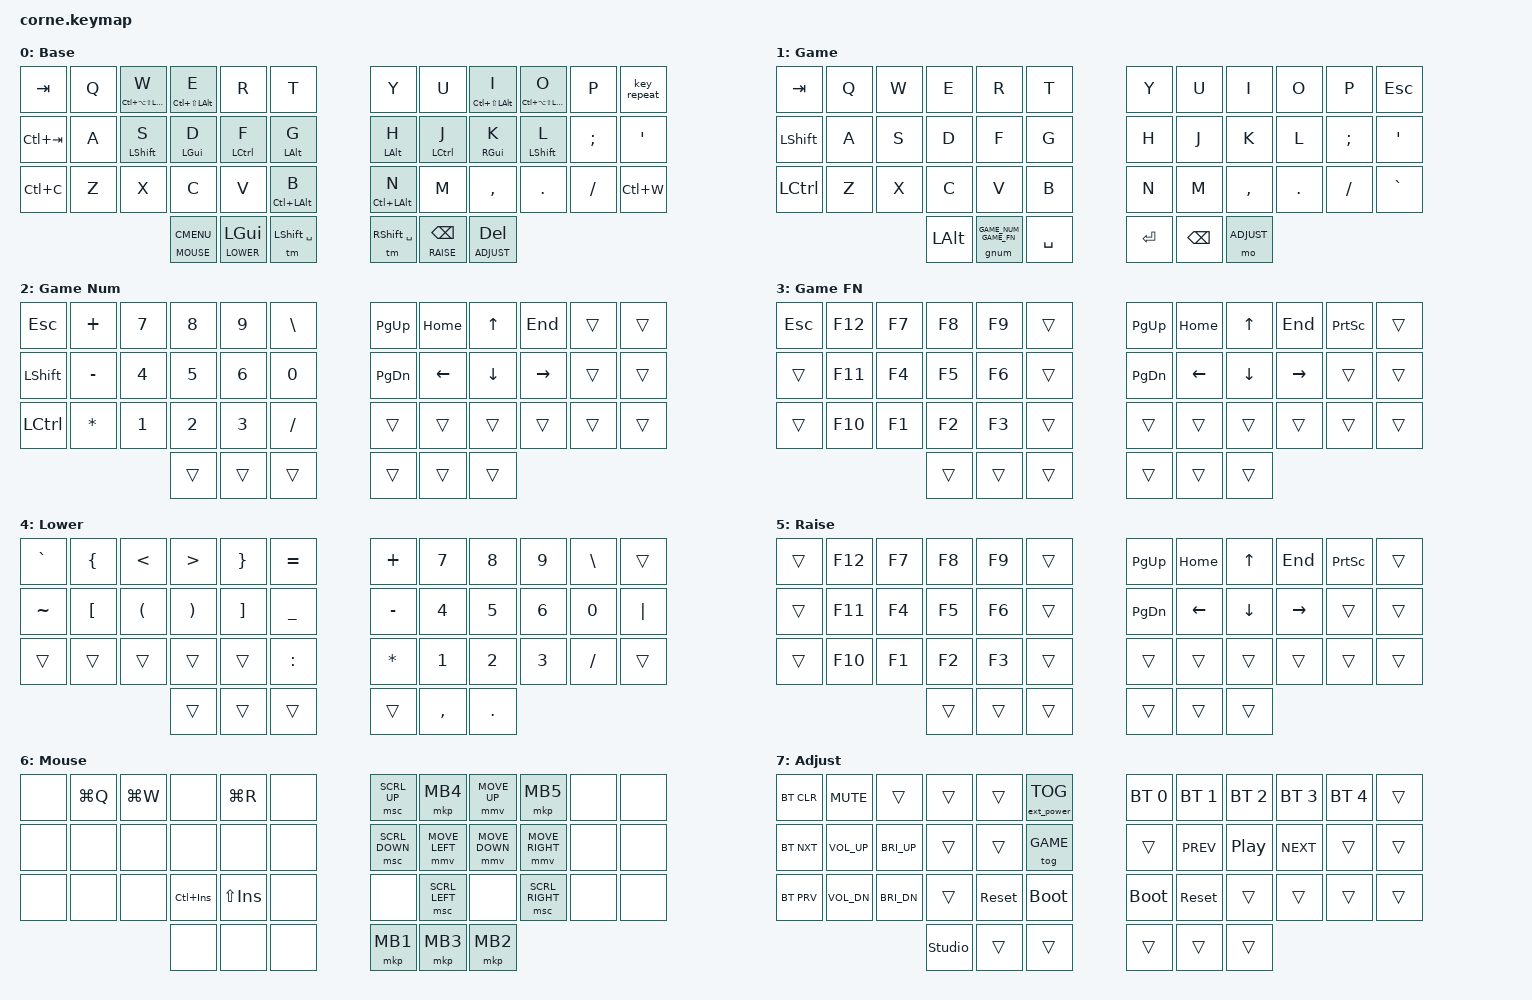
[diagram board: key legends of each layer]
/*
 * Copyright (c) 2020 The ZMK Contributors
 *
 * SPDX-License-Identifier: MIT
 */

#include <behaviors.dtsi>
#include <dt-bindings/zmk/bt.h>
#include <dt-bindings/zmk/ext_power.h>
#include <dt-bindings/zmk/keys.h>
#include <dt-bindings/zmk/pointing.h>

#include "keys/base.h"
#include "keys/42.h"

#define BASE     0
#define GAME     1
#define GAME_NUM 2
#define GAME_FN  3
#define LOWER    4
#define RAISE    5
#define MOUSE    6
#define ADJUST   7

#define HYPER LC(LA(LS(LGUI)))
#define MEH LC(LS(LALT))
#define COPY LC(INS)
#define PASTE LS(INS)

/ {
    keymap {
        compatible = "zmk,keymap";

        default_layer {
            display-name = "Base";
            bindings = <
//    ┌────┬───┬──────────────┬─────────────┬────────────┬───────────┐       ┌───────────┬────────────┬─────────────┬──────────────┬───┬────┐
//    │ ⇥  │ Q │ &hml HYPER W │ &hml MEH E  │     R      │     T     │       │     Y     │     U      │ &hmr MEH I  │ &hmr HYPER O │ P │ ⟳  │
//    ├────┼───┼──────────────┼─────────────┼────────────┼───────────┤       ├───────────┼────────────┼─────────────┼──────────────┼───┼────┤
//    │ ⌃⇥ │ A │   &hml ⇧ S   │  &hml ⌘ D   │  &hml ⌃ F  │ &hml ⌥ G  │       │ &hmr ⌥ H  │  &hmr ⌃ J  │  &hmr ⌘ K   │   &hmr ⇧ L   │ ; │ '  │
//    ├────┼───┼──────────────┼─────────────┼────────────┼───────────┤       ├───────────┼────────────┼─────────────┼──────────────┼───┼────┤
//    │ ⌃C │ Z │      X       │      C      │     V      │ &hml ⌃⌥ B │       │ &hmr ⌃⌥ N │     M      │      ,      │      .       │ / │ ⌃W │
//    └────┴───┴──────────────┼─────────────┼────────────┼───────────┤       ├───────────┼────────────┼─────────────┼──────────────┴───┴────┘
//                            │ LT MOUSE 🌍 │ LT LOWER ⌘ │  &tm ⇧ ␣  │       │  &tm ⇧ ␣  │ LT RAISE ⌫ │ LT ADJUST ⌦ │
//                            └─────────────┴────────────┴───────────┘       └───────────┴────────────┴─────────────┘
  &kp TAB       &kp Q   &hml HYPER W    &hml MEH E          &kp R            &kp T                      &kp Y              &kp U            &hmr MEH I       &hmr HYPER O    &kp P      &key_repeat
  &kp LC(TAB)   &kp A   &hml LSHIFT S   &hml LGUI D         &hml LCTRL F     &hml LALT G                &hmr LALT H        &hmr LCTRL J     &hmr RGUI K      &hmr LSHIFT L   &kp SEMI   &kp SQT
  &kp LC(C)     &kp Z   &kp X           &kp C               &kp V            &hml LC(LALT) B            &hmr LC(LALT) N    &kp M            &kp COMMA        &kp DOT         &kp FSLH   &kp LC(W)
                                        &lt MOUSE K_CMENU   &lt LOWER LGUI   &tm LSHIFT SPACE           &tm RSHIFT SPACE   &lt RAISE BSPC   &lt ADJUST DEL
            >;
        };

        game_layer {
            display-name = "Game";
            bindings = <
//    ┌───┬───┬───┬───┬────────────────────────┬───┐       ┌───┬───┬───────────┬───┬───┬───┐
//    │ ⇥ │ Q │ W │ E │           R            │ T │       │ Y │ U │     I     │ O │ P │ ⎋ │
//    ├───┼───┼───┼───┼────────────────────────┼───┤       ├───┼───┼───────────┼───┼───┼───┤
//    │ ⇧ │ A │ S │ D │           F            │ G │       │ H │ J │     K     │ L │ ; │ ' │
//    ├───┼───┼───┼───┼────────────────────────┼───┤       ├───┼───┼───────────┼───┼───┼───┤
//    │ ⌃ │ Z │ X │ C │           V            │ B │       │ N │ M │     ,     │ . │ / │ ` │
//    └───┴───┴───┼───┼────────────────────────┼───┤       ├───┼───┼───────────┼───┴───┴───┘
//                │ ⌥ │ &gnum GAME_NUM GAME_FN │ ␣ │       │ ⏎ │ ⌫ │ MO ADJUST │
//                └───┴────────────────────────┴───┘       └───┴───┴───────────┘
  &kp TAB      &kp Q   &kp W   &kp E      &kp R                    &kp T               &kp Y     &kp U      &kp I        &kp O     &kp P      &kp ESC
  &kp LSHIFT   &kp A   &kp S   &kp D      &kp F                    &kp G               &kp H     &kp J      &kp K        &kp L     &kp SEMI   &kp SQT
  &kp LCTRL    &kp Z   &kp X   &kp C      &kp V                    &kp B               &kp N     &kp M      &kp COMMA    &kp DOT   &kp FSLH   &kp GRAVE
                               &kp LALT   &gnum GAME_NUM GAME_FN   &kp SPACE           &kp RET   &kp BSPC   &mo ADJUST
            >;
        };

        game_num_layer {
            display-name = "Game Num";
            bindings = <
//    ┌───┬───┬───┬───┬───┬───┐       ┌───┬───┬───┬───┬───┬───┐
//    │ ⎋ │ + │ 7 │ 8 │ 9 │ \ │       │ ⇞ │ ⇱ │ ↑ │ ⇲ │   │   │
//    ├───┼───┼───┼───┼───┼───┤       ├───┼───┼───┼───┼───┼───┤
//    │ ⇧ │ - │ 4 │ 5 │ 6 │ 0 │       │ ⇟ │ ← │ ↓ │ → │   │   │
//    ├───┼───┼───┼───┼───┼───┤       ├───┼───┼───┼───┼───┼───┤
//    │ ⌃ │ * │ 1 │ 2 │ 3 │ / │       │   │   │   │   │   │   │
//    └───┴───┴───┼───┼───┼───┤       ├───┼───┼───┼───┴───┴───┘
//                │   │   │   │       │   │   │   │
//                └───┴───┴───┘       └───┴───┴───┘
  &kp ESC      &kp PLUS    &kp N7   &kp N8   &kp N9   &kp BSLH           &kp PG_UP   &kp HOME   &kp UP     &kp END     &trans   &trans
  &kp LSHIFT   &kp MINUS   &kp N4   &kp N5   &kp N6   &kp N0             &kp PG_DN   &kp LEFT   &kp DOWN   &kp RIGHT   &trans   &trans
  &kp LCTRL    &kp ASTRK   &kp N1   &kp N2   &kp N3   &kp FSLH           &trans      &trans     &trans     &trans      &trans   &trans
                                    &trans   &trans   &trans             &trans      &trans     &trans
            >;
        };

        game_fn_layer {
            display-name = "Game FN";
            bindings = <
//    ┌───┬─────┬────┬────┬────┬───┐       ┌───┬───┬───┬───┬────┬───┐
//    │ ⎋ │ F12 │ F7 │ F8 │ F9 │   │       │ ⇞ │ ⇱ │ ↑ │ ⇲ │ 🖨️ │   │
//    ├───┼─────┼────┼────┼────┼───┤       ├───┼───┼───┼───┼────┼───┤
//    │   │ F11 │ F4 │ F5 │ F6 │   │       │ ⇟ │ ← │ ↓ │ → │    │   │
//    ├───┼─────┼────┼────┼────┼───┤       ├───┼───┼───┼───┼────┼───┤
//    │   │ F10 │ F1 │ F2 │ F3 │   │       │   │   │   │   │    │   │
//    └───┴─────┴────┼────┼────┼───┤       ├───┼───┼───┼───┴────┴───┘
//                   │    │    │   │       │   │   │   │
//                   └────┴────┴───┘       └───┴───┴───┘
  &kp ESC   &kp F12   &kp F7   &kp F8   &kp F9   &trans           &kp PG_UP   &kp HOME   &kp UP     &kp END     &kp PRINTSCREEN   &trans
  &trans    &kp F11   &kp F4   &kp F5   &kp F6   &trans           &kp PG_DN   &kp LEFT   &kp DOWN   &kp RIGHT   &trans            &trans
  &trans    &kp F10   &kp F1   &kp F2   &kp F3   &trans           &trans      &trans     &trans     &trans      &trans            &trans
                               &trans   &trans   &trans           &trans      &trans     &trans
            >;
        };

        lower_layer {
            display-name = "Lower";
            bindings = <
//    ┌───┬───┬───┬───┬───┬───┐       ┌───┬───┬───┬───┬───┬───┐
//    │ ` │ { │ < │ > │ } │ = │       │ + │ 7 │ 8 │ 9 │ \ │   │
//    ├───┼───┼───┼───┼───┼───┤       ├───┼───┼───┼───┼───┼───┤
//    │ ~ │ [ │ ( │ ) │ ] │ _ │       │ - │ 4 │ 5 │ 6 │ 0 │ | │
//    ├───┼───┼───┼───┼───┼───┤       ├───┼───┼───┼───┼───┼───┤
//    │   │   │   │   │   │ : │       │ * │ 1 │ 2 │ 3 │ / │   │
//    └───┴───┴───┼───┼───┼───┤       ├───┼───┼───┼───┴───┴───┘
//                │   │   │   │       │   │ , │ . │
//                └───┴───┴───┘       └───┴───┴───┘
  &kp GRAVE   &kp LBRC   &kp LT     &kp GT     &kp RBRC   &kp EQUAL           &kp PLUS    &kp N7      &kp N8    &kp N9   &kp BSLH   &trans
  &kp TILDE   &kp LBKT   &kp LPAR   &kp RPAR   &kp RBKT   &kp UNDER           &kp MINUS   &kp N4      &kp N5    &kp N6   &kp N0     &kp PIPE
  &trans      &trans     &trans     &trans     &trans     &kp COLON           &kp ASTRK   &kp N1      &kp N2    &kp N3   &kp FSLH   &trans
                                    &trans     &trans     &trans              &trans      &kp COMMA   &kp DOT
            >;
        };

        raise_layer {
            display-name = "Raise";
            bindings = <
//    ┌───┬─────┬────┬────┬────┬───┐       ┌───┬───┬───┬───┬────┬───┐
//    │   │ F12 │ F7 │ F8 │ F9 │   │       │ ⇞ │ ⇱ │ ↑ │ ⇲ │ 🖨️ │   │
//    ├───┼─────┼────┼────┼────┼───┤       ├───┼───┼───┼───┼────┼───┤
//    │   │ F11 │ F4 │ F5 │ F6 │   │       │ ⇟ │ ← │ ↓ │ → │    │   │
//    ├───┼─────┼────┼────┼────┼───┤       ├───┼───┼───┼───┼────┼───┤
//    │   │ F10 │ F1 │ F2 │ F3 │   │       │   │   │   │   │    │   │
//    └───┴─────┴────┼────┼────┼───┤       ├───┼───┼───┼───┴────┴───┘
//                   │    │    │   │       │   │   │   │
//                   └────┴────┴───┘       └───┴───┴───┘
  &trans   &kp F12   &kp F7   &kp F8   &kp F9   &trans           &kp PG_UP   &kp HOME   &kp UP     &kp END     &kp PRINTSCREEN   &trans
  &trans   &kp F11   &kp F4   &kp F5   &kp F6   &trans           &kp PG_DN   &kp LEFT   &kp DOWN   &kp RIGHT   &trans            &trans
  &trans   &kp F10   &kp F1   &kp F2   &kp F3   &trans           &trans      &trans     &trans     &trans      &trans            &trans
                              &trans   &trans   &trans           &trans      &trans     &trans
            >;
        };

        mouse_layer {
            display-name = "Mouse";
            bindings = <
//    ┌───┬────┬────┬────┬────┬───┐       ┌───────┬───────┬─────┬───────┬───┬───┐
//    │ ∅ │ ⌘Q │ ⌘W │ ∅  │ ⌘R │ ∅ │       │ 🖱️📜↑ │ 🖱️B4  │ 🖱️↑ │ 🖱️F5  │ ∅ │ ∅ │
//    ├───┼────┼────┼────┼────┼───┤       ├───────┼───────┼─────┼───────┼───┼───┤
//    │ ∅ │ ∅  │ ∅  │ ∅  │ ∅  │ ∅ │       │ 🖱️📜↓ │  🖱️←  │ 🖱️↓ │  🖱️→  │ ∅ │ ∅ │
//    ├───┼────┼────┼────┼────┼───┤       ├───────┼───────┼─────┼───────┼───┼───┤
//    │ ∅ │ ∅  │ ∅  │ 📄 │ 📋 │ ∅ │       │   ∅   │ 🖱️📜← │  ∅  │ 🖱️📜→ │ ∅ │ ∅ │
//    └───┴────┴────┼────┼────┼───┤       ├───────┼───────┼─────┼───────┴───┴───┘
//                  │ ∅  │ ∅  │ ∅ │       │  🖱️L  │  🖱️M  │ 🖱️R │
//                  └────┴────┴───┘       └───────┴───────┴─────┘
  &none   &kp LG(Q)   &kp LG(W)   &none      &kp LG(R)   &none           &msc SCRL_UP     &mkp MB4         &mmv MOVE_UP     &mkp MB5          &none   &none
  &none   &none       &none       &none      &none       &none           &msc SCRL_DOWN   &mmv MOVE_LEFT   &mmv MOVE_DOWN   &mmv MOVE_RIGHT   &none   &none
  &none   &none       &none       &kp COPY   &kp PASTE   &none           &none            &msc SCRL_LEFT   &none            &msc SCRL_RIGHT   &none   &none
                                  &none      &none       &none           &mkp MB1         &mkp MB3         &mkp MB2
            >;
        };

        adjust_layer {
            display-name = "Adjust";
            bindings = <
//    ┌──────┬────┬────┬────┬────┬────────┐       ┌──────┬──────┬──────┬──────┬──────┬───┐
//    │ 🛜❌ │ 🔇 │    │    │    │   🔌   │       │ 🛜 0 │ 🛜 1 │ 🛜 2 │ 🛜 3 │ 🛜 4 │   │
//    ├──────┼────┼────┼────┼────┼────────┤       ├──────┼──────┼──────┼──────┼──────┼───┤
//    │ 🛜🔼 │ 🔊 │ 🔆 │    │    │ TOG 🎮 │       │      │  ⏮   │  ⏯   │  ⏭   │      │   │
//    ├──────┼────┼────┼────┼────┼────────┤       ├──────┼──────┼──────┼──────┼──────┼───┤
//    │ 🛜🔽 │ 🔉 │ 🔅 │    │ 🔄 │   💾   │       │  💾  │  🔄  │      │      │      │   │
//    └──────┴────┴────┼────┼────┼────────┤       ├──────┼──────┼──────┼──────┴──────┴───┘
//                     │ 🔓 │    │        │       │      │      │      │
//                     └────┴────┴────────┘       └──────┴──────┴──────┘
  &bt BT_CLR   &kp C_MUTE     &trans         &trans           &trans       &ext_power EP_TOG           &bt BT_SEL 0   &bt BT_SEL 1   &bt BT_SEL 2   &bt BT_SEL 3   &bt BT_SEL 4   &trans
  &bt BT_NXT   &kp C_VOL_UP   &kp C_BRI_UP   &trans           &trans       &tog GAME                   &trans         &kp C_PREV     &kp C_PP       &kp C_NEXT     &trans         &trans
  &bt BT_PRV   &kp C_VOL_DN   &kp C_BRI_DN   &trans           &sys_reset   &bootloader                 &bootloader    &sys_reset     &trans         &trans         &trans         &trans
                                             &studio_unlock   &trans       &trans                      &trans         &trans         &trans
            >;
        };
    };
};


#include "includes/macros.dtsi"
#include "includes/mods.dtsi"
#include "includes/combos.dtsi"
#include "includes/mouse.dtsi"
